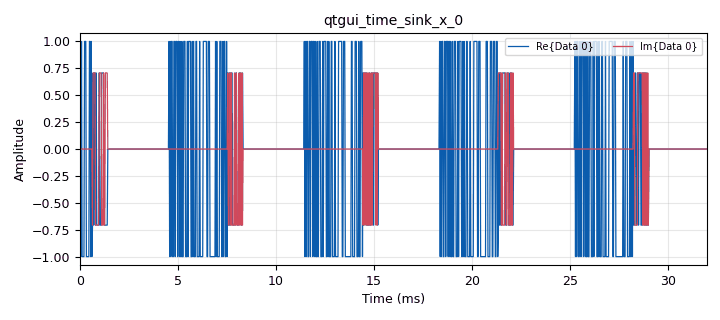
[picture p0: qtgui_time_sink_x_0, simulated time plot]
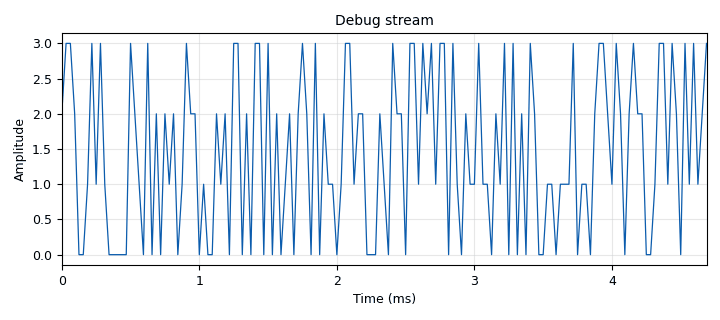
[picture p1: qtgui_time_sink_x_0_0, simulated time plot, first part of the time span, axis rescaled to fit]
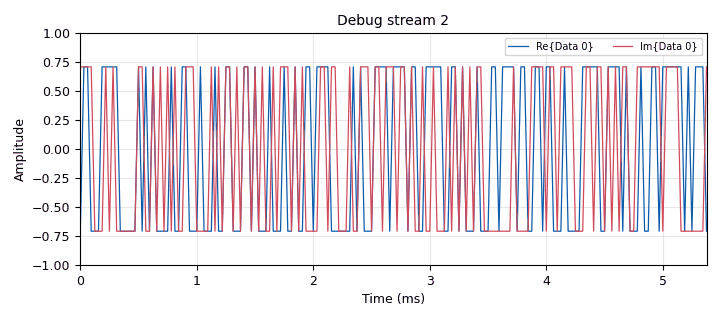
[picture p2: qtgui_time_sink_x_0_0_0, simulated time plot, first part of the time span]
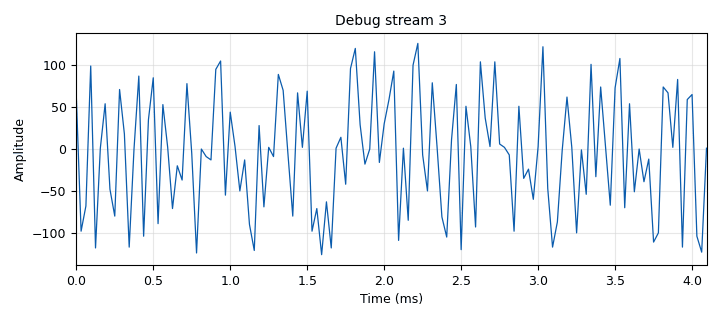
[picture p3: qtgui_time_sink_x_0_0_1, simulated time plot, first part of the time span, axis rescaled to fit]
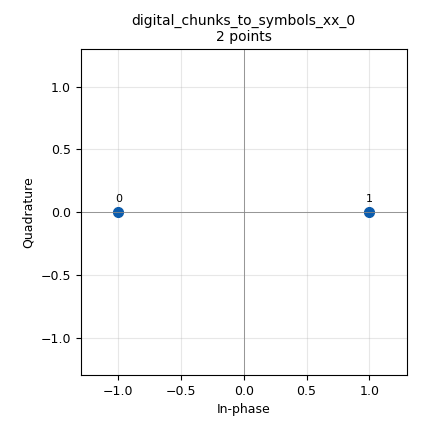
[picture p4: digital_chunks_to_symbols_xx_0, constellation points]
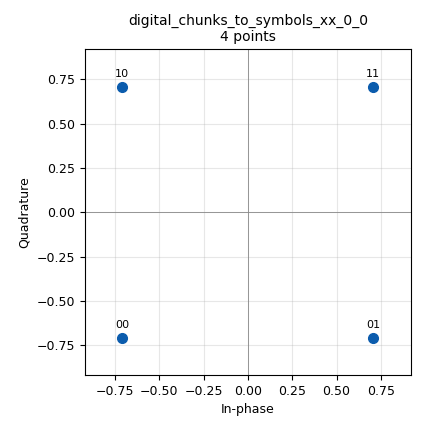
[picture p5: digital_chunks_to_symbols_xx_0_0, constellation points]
<?xml version='1.0' encoding='utf-8'?>
<?grc format='1' created='3.7.11'?>
<flow_graph>
<block>
<key>options</key>
<param><key>id</key><value>endec_basic</value></param>
<param><key>category</key><value>Custom</value></param>
<param><key>generate_options</key><value>qt_gui</value></param>
</block>
<block>
<key>variable</key>
<param><key>id</key><value>constel_header</value></param>
<param><key>value</key><value>digital.constellation_bpsk()</value></param>
</block>
<block>
<key>variable</key>
<param><key>id</key><value>constel_payload</value></param>
<param><key>value</key><value>digital.constellation_qpsk()</value></param>
</block>
<block>
<key>variable</key>
<param><key>id</key><value>header_formatter</value></param>
<param><key>value</key><value>digital.packet_header_default(32/constel_header.bits_per_symbol(), "packet_len", "packet_num", constel_header.bits_per_symbol())</value></param>
</block>
<block>
<key>variable</key>
<param><key>id</key><value>preamble</value></param>
<param><key>value</key><value>[1,-1,1,-1,1,1,-1,-1,1,1,-1,1,1,1,-1,1,1,-1,1,-1,-1,1,-1,-1,1,1,1,-1,-1,-1,1,-1,1,1,1,1,-1,-1,1,-1,1,-1,-1,-1,1,1,-1,-1,-1,-1,1,-1,-1,-1,-1,-1,1,1,1,1,1,1,-1,-1]</value></param>
</block>
<block>
<key>variable_qtgui_range</key>
<param><key>id</key><value>samp_rate</value></param>
<param><key>value</key><value>32000</value></param>
<param><key>gui_hint</key><value>3,1,1,1</value></param>
<param><key>label</key><value>Sample rate</value></param>
<param><key>min_len</key><value>100</value></param>
<param><key>orient</key><value>Qt.Horizontal</value></param>
<param><key>start</key><value>1</value></param>
<param><key>step</key><value>10</value></param>
<param><key>stop</key><value>256000</value></param>
<param><key>rangeType</key><value>int</value></param>
<param><key>widget</key><value>slider</value></param>
</block>
<block>
<key>variable</key>
<param><key>id</key><value>zero_padding</value></param>
<param><key>value</key><value>100</value></param>
</block>
<block>
<key>analog_random_source_x</key>
<param><key>id</key><value>analog_random_source_x_0</value></param>
<param><key>max</key><value>256</value></param>
<param><key>min</key><value>0</value></param>
<param><key>num_samps</key><value>10000</value></param>
<param><key>type</key><value>byte</value></param>
<param><key>repeat</key><value>True</value></param>
</block>
<block>
<key>blocks_char_to_float</key>
<param><key>id</key><value>blocks_char_to_float_0</value></param>
<param><key>scale</key><value>1</value></param>
</block>
<block>
<key>blocks_char_to_float</key>
<param><key>id</key><value>blocks_char_to_float_0_0</value></param>
<param><key>scale</key><value>1</value></param>
</block>
<block>
<key>blocks_null_source</key>
<param><key>id</key><value>blocks_null_source_0</value></param>
<param><key>bus_conns</key><value>[[0,],]</value></param>
<param><key>type</key><value>complex</value></param>
</block>
<block>
<key>blocks_repack_bits_bb</key>
<param><key>id</key><value>blocks_repack_bits_bb_0</value></param>
<param><key>k</key><value>1</value></param>
<param><key>l</key><value>constel_payload.bits_per_symbol()</value></param>
<param><key>endianness</key><value>gr.GR_MSB_FIRST</value></param>
<param><key>len_tag_key</key><value>"packet_len"</value></param>
</block>
<block>
<key>blocks_repack_bits_bb</key>
<param><key>id</key><value>blocks_repack_bits_bb_0_1</value></param>
<param><key>k</key><value>8</value></param>
<param><key>l</key><value>1</value></param>
<param><key>endianness</key><value>gr.GR_LSB_FIRST</value></param>
<param><key>len_tag_key</key><value></value></param>
</block>
<block>
<key>blocks_repack_bits_bb</key>
<param><key>id</key><value>blocks_repack_bits_bb_0_2</value></param>
<param><key>k</key><value>1</value></param>
<param><key>l</key><value>8</value></param>
<param><key>endianness</key><value>gr.GR_LSB_FIRST</value></param>
<param><key>len_tag_key</key><value>"packet_len"</value></param>
</block>
<block>
<key>blocks_stream_to_tagged_stream</key>
<param><key>id</key><value>blocks_stream_to_tagged_stream_0</value></param>
<param><key>len_tag_key</key><value>"packet_len"</value></param>
<param><key>packet_len</key><value>50</value></param>
<param><key>type</key><value>byte</value></param>
</block>
<block>
<key>blocks_stream_to_tagged_stream</key>
<param><key>id</key><value>blocks_stream_to_tagged_stream_0_0_0</value></param>
<param><key>len_tag_key</key><value>"packet_len"</value></param>
<param><key>packet_len</key><value>zero_padding</value></param>
<param><key>type</key><value>complex</value></param>
</block>
<block>
<key>blocks_stream_to_tagged_stream</key>
<param><key>id</key><value>blocks_stream_to_tagged_stream_1</value></param>
<param><key>len_tag_key</key><value>"packet_len"</value></param>
<param><key>packet_len</key><value>len(preamble)</value></param>
<param><key>type</key><value>complex</value></param>
</block>
<block>
<key>blocks_tagged_stream_mux</key>
<param><key>id</key><value>blocks_tagged_stream_mux_0</value></param>
<param><key>type</key><value>complex</value></param>
<param><key>lengthtagname</key><value>packet_len</value></param>
<param><key>ninputs</key><value>4</value></param>
</block>
<block>
<key>blocks_throttle</key>
<param><key>id</key><value>blocks_throttle_0</value></param>
<param><key>samples_per_second</key><value>samp_rate</value></param>
<param><key>type</key><value>byte</value></param>
</block>
<block>
<key>blocks_vector_source_x</key>
<param><key>id</key><value>blocks_vector_source_x_0</value></param>
<param><key>type</key><value>complex</value></param>
<param><key>repeat</key><value>True</value></param>
<param><key>vector</key><value>preamble</value></param>
</block>
<block>
<key>digital_chunks_to_symbols_xx</key>
<param><key>id</key><value>digital_chunks_to_symbols_xx_0</value></param>
<param><key>dimension</key><value>1</value></param>
<param><key>in_type</key><value>byte</value></param>
<param><key>out_type</key><value>complex</value></param>
<param><key>symbol_table</key><value>constel_header.points()</value></param>
</block>
<block>
<key>digital_chunks_to_symbols_xx</key>
<param><key>id</key><value>digital_chunks_to_symbols_xx_0_0</value></param>
<param><key>dimension</key><value>1</value></param>
<param><key>in_type</key><value>byte</value></param>
<param><key>out_type</key><value>complex</value></param>
<param><key>symbol_table</key><value>constel_payload.points()</value></param>
</block>
<block>
<key>digital_packet_headergenerator_bb</key>
<param><key>id</key><value>digital_packet_headergenerator_bb_0</value></param>
<param><key>header_formatter</key><value>header_formatter</value></param>
<param><key>len_tag_key</key><value>"packet_len"</value></param>
</block>
<block>
<key>qtgui_time_sink_x</key>
<param><key>id</key><value>qtgui_time_sink_x_0</value></param>
<param><key>color1</key><value>"blue"</value></param>
<param><key>label1</key><value></value></param>
<param><key>color2</key><value>"red"</value></param>
<param><key>label2</key><value></value></param>
<param><key>size</key><value>1024</value></param>
<param><key>srate</key><value>samp_rate</value></param>
<param><key>type</key><value>complex</value></param>
</block>
<block>
<key>qtgui_time_sink_x</key>
<param><key>id</key><value>qtgui_time_sink_x_0_0</value></param>
<param><key>color1</key><value>"blue"</value></param>
<param><key>label1</key><value></value></param>
<param><key>name</key><value>"Debug stream"</value></param>
<param><key>size</key><value>1024</value></param>
<param><key>srate</key><value>samp_rate</value></param>
<param><key>type</key><value>float</value></param>
</block>
<block>
<key>qtgui_time_sink_x</key>
<param><key>id</key><value>qtgui_time_sink_x_0_0_0</value></param>
<param><key>color1</key><value>"blue"</value></param>
<param><key>label1</key><value></value></param>
<param><key>color2</key><value>"red"</value></param>
<param><key>label2</key><value></value></param>
<param><key>name</key><value>"Debug stream 2"</value></param>
<param><key>size</key><value>1024</value></param>
<param><key>srate</key><value>samp_rate</value></param>
<param><key>type</key><value>complex</value></param>
</block>
<block>
<key>qtgui_time_sink_x</key>
<param><key>id</key><value>qtgui_time_sink_x_0_0_1</value></param>
<param><key>color1</key><value>"blue"</value></param>
<param><key>label1</key><value></value></param>
<param><key>name</key><value>"Debug stream 3"</value></param>
<param><key>size</key><value>1024</value></param>
<param><key>srate</key><value>samp_rate</value></param>
<param><key>type</key><value>float</value></param>
</block>
<block>
<key>virtual_sink</key>
<param><key>id</key><value>virtual_sink_1_0</value></param>
<param><key>stream_id</key><value>src_data</value></param>
</block>
<block>
<key>virtual_source</key>
<param><key>id</key><value>virtual_source_4</value></param>
<param><key>stream_id</key><value>src_data</value></param>
</block>
<connection><source_block_id>analog_random_source_x_0</source_block_id><sink_block_id>blocks_repack_bits_bb_0_1</sink_block_id><source_key>0</source_key><sink_key>0</sink_key></connection>
<connection><source_block_id>blocks_char_to_float_0</source_block_id><sink_block_id>qtgui_time_sink_x_0_0</sink_block_id><source_key>0</source_key><sink_key>0</sink_key></connection>
<connection><source_block_id>blocks_char_to_float_0_0</source_block_id><sink_block_id>qtgui_time_sink_x_0_0_1</sink_block_id><source_key>0</source_key><sink_key>0</sink_key></connection>
<connection><source_block_id>blocks_null_source_0</source_block_id><sink_block_id>blocks_stream_to_tagged_stream_0_0_0</sink_block_id><source_key>0</source_key><sink_key>0</sink_key></connection>
<connection><source_block_id>blocks_repack_bits_bb_0</source_block_id><sink_block_id>blocks_char_to_float_0</sink_block_id><source_key>0</source_key><sink_key>0</sink_key></connection>
<connection><source_block_id>blocks_repack_bits_bb_0</source_block_id><sink_block_id>digital_chunks_to_symbols_xx_0_0</sink_block_id><source_key>0</source_key><sink_key>0</sink_key></connection>
<connection><source_block_id>blocks_repack_bits_bb_0_1</source_block_id><sink_block_id>blocks_stream_to_tagged_stream_0</sink_block_id><source_key>0</source_key><sink_key>0</sink_key></connection>
<connection><source_block_id>blocks_repack_bits_bb_0_2</source_block_id><sink_block_id>blocks_char_to_float_0_0</sink_block_id><source_key>0</source_key><sink_key>0</sink_key></connection>
<connection><source_block_id>blocks_repack_bits_bb_0_2</source_block_id><sink_block_id>digital_packet_headergenerator_bb_0</sink_block_id><source_key>0</source_key><sink_key>0</sink_key></connection>
<connection><source_block_id>blocks_stream_to_tagged_stream_0</source_block_id><sink_block_id>blocks_throttle_0</sink_block_id><source_key>0</source_key><sink_key>0</sink_key></connection>
<connection><source_block_id>blocks_stream_to_tagged_stream_0_0_0</source_block_id><sink_block_id>blocks_tagged_stream_mux_0</sink_block_id><source_key>0</source_key><sink_key>3</sink_key></connection>
<connection><source_block_id>blocks_stream_to_tagged_stream_1</source_block_id><sink_block_id>blocks_tagged_stream_mux_0</sink_block_id><source_key>0</source_key><sink_key>0</sink_key></connection>
<connection><source_block_id>blocks_tagged_stream_mux_0</source_block_id><sink_block_id>qtgui_time_sink_x_0</sink_block_id><source_key>0</source_key><sink_key>0</sink_key></connection>
<connection><source_block_id>blocks_throttle_0</source_block_id><sink_block_id>virtual_sink_1_0</sink_block_id><source_key>0</source_key><sink_key>0</sink_key></connection>
<connection><source_block_id>blocks_vector_source_x_0</source_block_id><sink_block_id>blocks_stream_to_tagged_stream_1</sink_block_id><source_key>0</source_key><sink_key>0</sink_key></connection>
<connection><source_block_id>digital_chunks_to_symbols_xx_0</source_block_id><sink_block_id>blocks_tagged_stream_mux_0</sink_block_id><source_key>0</source_key><sink_key>1</sink_key></connection>
<connection><source_block_id>digital_chunks_to_symbols_xx_0_0</source_block_id><sink_block_id>blocks_tagged_stream_mux_0</sink_block_id><source_key>0</source_key><sink_key>2</sink_key></connection>
<connection><source_block_id>digital_chunks_to_symbols_xx_0_0</source_block_id><sink_block_id>qtgui_time_sink_x_0_0_0</sink_block_id><source_key>0</source_key><sink_key>0</sink_key></connection>
<connection><source_block_id>digital_packet_headergenerator_bb_0</source_block_id><sink_block_id>digital_chunks_to_symbols_xx_0</sink_block_id><source_key>0</source_key><sink_key>0</sink_key></connection>
<connection><source_block_id>virtual_source_4</source_block_id><sink_block_id>blocks_repack_bits_bb_0</sink_block_id><source_key>0</source_key><sink_key>0</sink_key></connection>
<connection><source_block_id>virtual_source_4</source_block_id><sink_block_id>blocks_repack_bits_bb_0_2</sink_block_id><source_key>0</source_key><sink_key>0</sink_key></connection>
</flow_graph>
